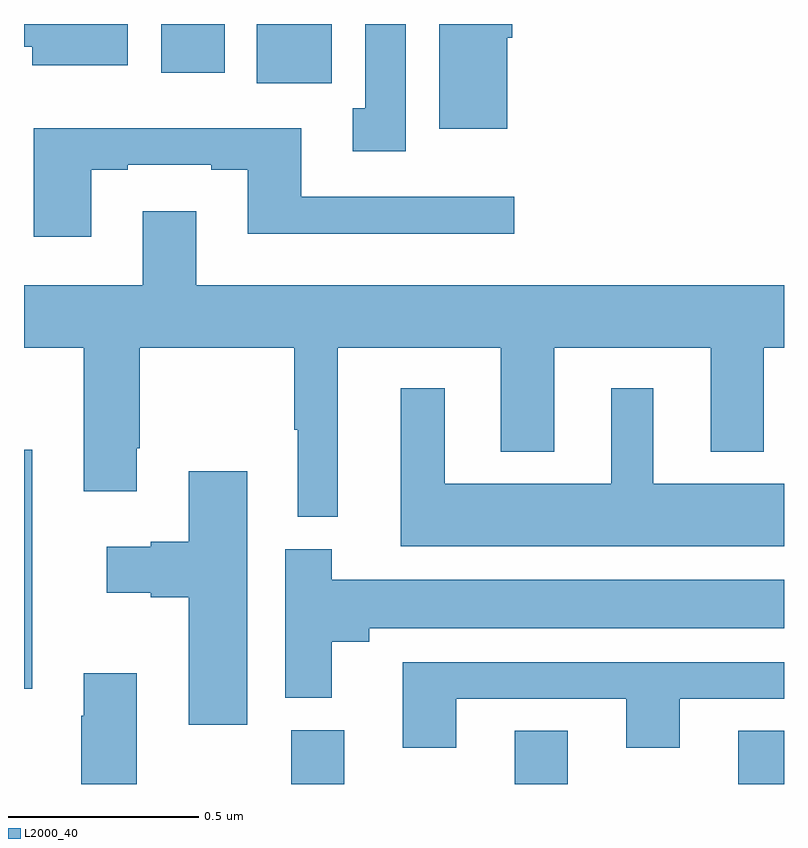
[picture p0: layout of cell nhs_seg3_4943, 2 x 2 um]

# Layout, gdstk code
import gdstk
lib = gdstk.Library(unit=1e-6, precision=1e-09)
def R(c, l, rs):  # rectangles x0, y0, x1, y1
    for r in rs: c.add(gdstk.rectangle(r[:2], r[2:], *l))
def P(c, l, *ps):  # polygons
    for p in ps: c.add(gdstk.Polygon(p, *l))
L2000_40 = (2000, 40)

nhs_seg3_4943 = lib.new_cell('nhs_seg3_4943')
R(nhs_seg3_4943, L2000_40, [(172.703,734.4,172.843,734.542), (173.291,734.4,173.431,734.54), (173.879,734.4,174,734.54), (172,734.651,172.022,735.28), (172.613,736.244,172.81,736.4), (172.361,736.272,172.528,736.4)])
P(nhs_seg3_4943, L2000_40, [(172.273,736.4),(172,736.4),(172,736.34),(172.022,736.34),(172.022,736.292),(172.273,736.292)],
  [(173.272,736.364),(173.285,736.364),(173.285,736.4),(173.093,736.4),(173.093,736.124),(173.272,736.124)],
  [(173.005,736.4),(172.898,736.4),(172.898,736.178),(172.865,736.178),(172.865,736.065),(173.005,736.065)],
  [(172.177,736.017),(172.273,736.017),(172.273,736.029),(172.493,736.029),(172.493,736.017),(172.589,736.017),(172.589,735.848),(173.29,735.848),(173.29,735.945),(172.729,735.945),(172.729,736.126),(172.025,736.126),(172.025,735.84),(172.177,735.84)],
  [(172.825,735.548),(173.255,735.548),(173.255,735.275),(173.395,735.275),(173.395,735.548),(173.807,735.548),(173.807,735.275),(173.947,735.275),(173.947,735.548),(174,735.548),(174,735.712),(172.453,735.712),(172.453,735.907),(172.313,735.907),(172.313,735.712),(172,735.712),(172,735.548),(172.157,735.548),(172.157,735.171),(172.297,735.171),(172.297,735.283),(172.305,735.283),(172.305,735.548),(172.711,735.548),(172.711,735.332),(172.721,735.332),(172.721,735.103),(172.825,735.103)],
  [(174,735.19),(173.656,735.19),(173.656,735.442),(173.546,735.442),(173.546,735.19),(173.107,735.19),(173.107,735.442),(172.991,735.442),(172.991,735.026),(174,735.026)],
  [(172.588,735.223),(172.433,735.223),(172.433,735.038),(172.334,735.038),(172.334,735.025),(172.218,735.025),(172.218,734.903),(172.334,734.903),(172.334,734.891),(172.433,734.891),(172.433,734.556),(172.588,734.556)],
  [(172.81,734.774),(172.909,734.774),(172.909,734.81),(174,734.81),(174,734.938),(172.81,734.938),(172.81,735.018),(172.688,735.018),(172.688,734.627),(172.81,734.627)],
  [(173.137,734.625),(173.585,734.625),(173.585,734.496),(173.725,734.496),(173.725,734.625),(174,734.625),(174,734.721),(172.997,734.721),(172.997,734.496),(173.137,734.496)],
  [(172.297,734.692),(172.157,734.692),(172.157,734.579),(172.15,734.579),(172.15,734.4),(172.297,734.4)])

lib.write_gds('nhs_seg3_4943.gds')
